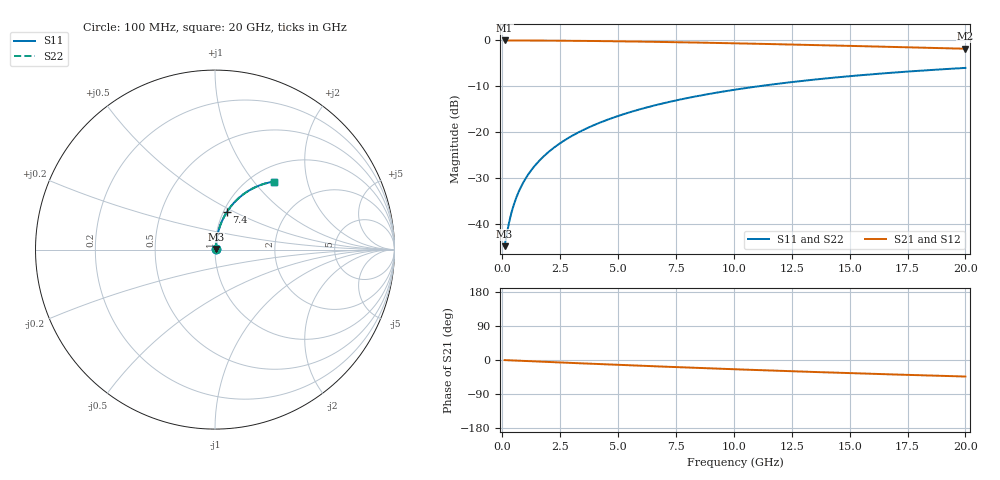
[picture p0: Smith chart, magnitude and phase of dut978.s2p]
! Touchstone file exported from HFSS 2024.1.0
!  File:  C:/UserFiles/LocalFiles/RDL_TSV_Batchsim/temp_RDL_top_978_1779939109.aedt
!  Generated:  11:34:11 AM May 28, 2026
!  Design:  RDL_top
!  Project:  temp_RDL_top_978_1779939109
!  Setup:  Setup1
!  Solution:  Sweep
! Variables:
!  dtsv = 10.80580581um
!  hbump = 3um
!  htsv = 64.98um
!  ldown = 100um
!  lrdl = 542.69um
!  p = 40
!  p1 = 52.94um
!  rhole = 1um
!  t = 450um
!  tdown = 3.915915916um
!  trdl = 3.43um
!  wdown = 15.38538539um
!  wrdl = 11.77um
# GHz S MA R 50.000000
! Terminal data exported
! Port[1] = Box2_T1
! Port[2] = Box2_T2
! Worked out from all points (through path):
!   200 points, 100 MHz to 20 GHz, reference 50 ohm
!   highest |S21| = -0.04 dB at 100 MHz (marker M1); lowest = -1.8 dB at 20 GHz (marker M2)
!   group delay of S21, straight-line fit = 6.06 ps
!   lowest |S11| = -44.8 dB at 100 MHz (marker M3), VSWR 1.01, Z = 50.5 + j0.316 ohm
!   |S11| at or under -10 dB: start of sweep to 11.08 GHz
!   |S22| runs from -44.8 to -6.0 dB; largest |S21 - S12| = 4.1e-15
!   S11 on the Smith chart (normalised r, x): 100 MHz: 1.01, +0.01; 7.4 GHz: 1.04, +0.46; 20 GHz: 1.26, +1.27
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0.1  0.005745 33.0  0.9952 -0.3  0.9952 -0.3  0.005745 33.0
! Gamma 0 0 0 0
! Port Impedance 50 0 50 0
0.2  0.007935 51.8  0.9951 -0.5  0.9951 -0.5  0.007935 51.8
0.3  0.01059 61.6  0.995 -0.8  0.995 -0.8  0.01059 61.6
0.4  0.01343 67.3  0.9949 -1.1  0.9949 -1.1  0.01343 67.3
0.5  0.01632 70.8  0.9947 -1.3  0.9947 -1.3  0.01632 70.8
0.6  0.01925 73.2  0.9945 -1.6  0.9945 -1.6  0.01925 73.2
0.8  0.02515 76.2  0.9942 -2.1  0.9942 -2.1  0.02515 76.2
1.1  0.03405 78.6  0.9936 -2.9  0.9936 -2.9  0.03405 78.6
1.5  0.04598 80.0  0.9926 -3.9  0.9926 -3.9  0.04598 80.0
1.8  0.05495 80.4  0.9918 -4.7  0.9918 -4.7  0.05495 80.4
2.1  0.06392 80.5  0.9908 -5.5  0.9908 -5.5  0.06392 80.5
2.7  0.08186 80.3  0.9884 -7.0  0.9884 -7.0  0.08186 80.3
3.5  0.1057 79.4  0.9844 -9.0  0.9844 -9.0  0.1057 79.4
4.2  0.1265 78.4  0.9802 -10.8  0.9802 -10.8  0.1265 78.4
5  0.15 77.1  0.9746 -12.7  0.9746 -12.7  0.15 77.1
6.8  0.2018 73.7  0.9597 -17.1  0.9597 -17.1  0.2018 73.7
7.4  0.2186 72.5  0.9541 -18.5  0.9541 -18.5  0.2187 72.6
8.7  0.2543 70.0  0.9411 -21.5  0.9411 -21.5  0.2543 70.0
10.1  0.2913 67.2  0.9261 -24.6  0.9261 -24.6  0.2913 67.2
13.4  0.3714 60.8  0.888 -31.5  0.888 -31.5  0.3714 60.8
16.7  0.441 54.7  0.8482 -37.8  0.8482 -37.8  0.4411 54.8
20  0.5002 49.2  0.8087 -43.6  0.8087 -43.6  0.5003 49.2
